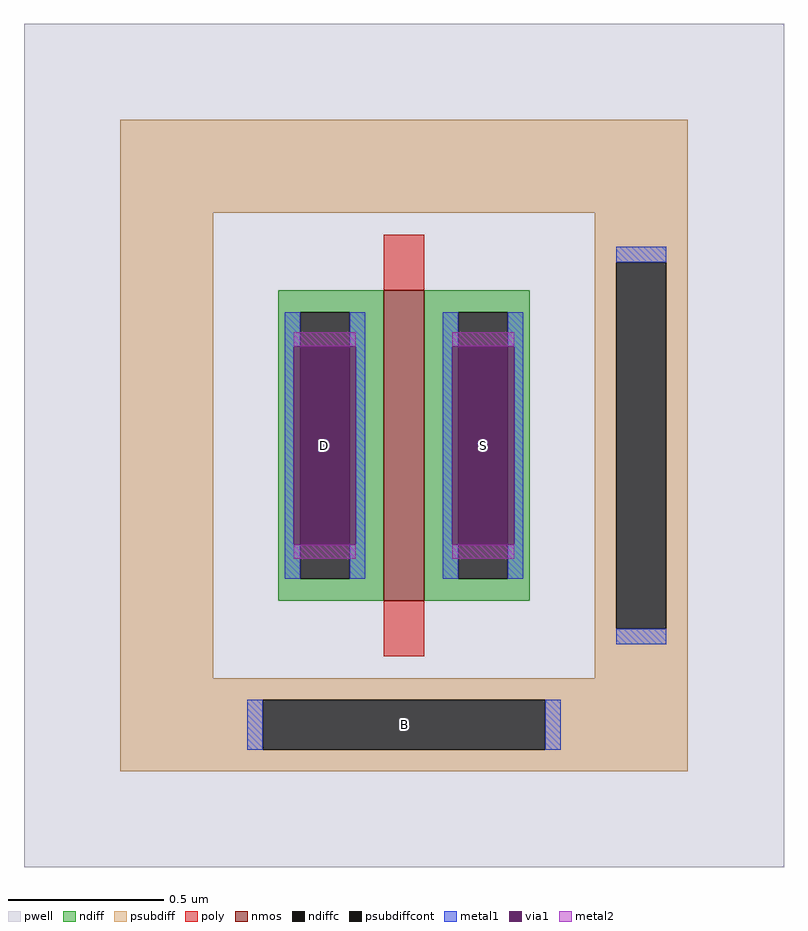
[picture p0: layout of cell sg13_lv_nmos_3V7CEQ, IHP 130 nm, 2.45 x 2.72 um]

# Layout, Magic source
magic
tech ihp-sg13g2
magscale 1 2
<< pwell >>
rect -245 -272 245 272
<< nmos >>
rect -13 -100 13 100
<< ndiff >>
rect -81 86 -13 100
rect -81 -86 -67 86
rect -35 -86 -13 86
rect -81 -100 -13 -86
rect 13 86 81 100
rect 13 -86 35 86
rect 67 -86 81 86
rect 13 -100 81 -86
<< ndiffc >>
rect -67 -86 -35 86
rect 35 -86 67 86
<< psubdiff >>
rect -183 150 183 210
rect -183 -150 -123 150
rect 123 118 183 150
rect 123 -118 137 118
rect 169 -118 183 118
rect 123 -150 183 -118
rect -183 -164 183 -150
rect -183 -196 -91 -164
rect 91 -196 183 -164
rect -183 -210 183 -196
<< psubdiffcont >>
rect 137 -118 169 118
rect -91 -196 91 -164
<< poly >>
rect -13 100 13 136
rect -13 -136 13 -100
<< metal1 >>
rect 137 118 169 128
rect -77 64 -67 86
rect -35 64 -25 86
rect -77 -64 -71 64
rect -31 -64 -25 64
rect -77 -86 -67 -64
rect -35 -86 -25 -64
rect 25 64 35 86
rect 67 64 77 86
rect 25 -64 31 64
rect 71 -64 77 64
rect 25 -86 35 -64
rect 67 -86 77 -64
rect 137 -128 169 -118
rect -101 -196 -91 -164
rect 91 -196 101 -164
<< via1 >>
rect -71 -64 -67 64
rect -67 -64 -35 64
rect -35 -64 -31 64
rect 31 -64 35 64
rect 35 -64 67 64
rect 67 -64 71 64
<< metal2 >>
rect -71 64 -31 73
rect -71 -73 -31 -64
rect 31 64 71 73
rect 31 -73 71 -64
<< labels >>
rlabel psubdiffcont 0 -180 0 -180 0 B
port 1 nsew
rlabel ndiffc -51 0 -51 0 0 D
port 2 nsew
rlabel ndiffc 51 0 51 0 0 S
port 3 nsew
<< properties >>
string FIXED_BBOX -153 -180 153 180
string gencell sg13_lv_nmos
string library sg13g2
string parameters w 1 l 0.13 m 1 nf 1 diffcov 100 polycov 100 guard 1 glc 0 grc 1 gtc 0 gbc 1 tbcov 100 rlcov 100 topc 0 botc 0 poverlap 0 doverlap 1 lmin 0.13 wmin 0.15 class mosfet compatible {sg13_lv_nmos sg13_hv_nmos} full_metal 0 conn_gates 0 gate_ring 0 doports 1 viasrc 100 viadrn 100 viagate 100 ccols 1 viagb 0 viagr 0 viagl 0 viagt 0
<< end >>
